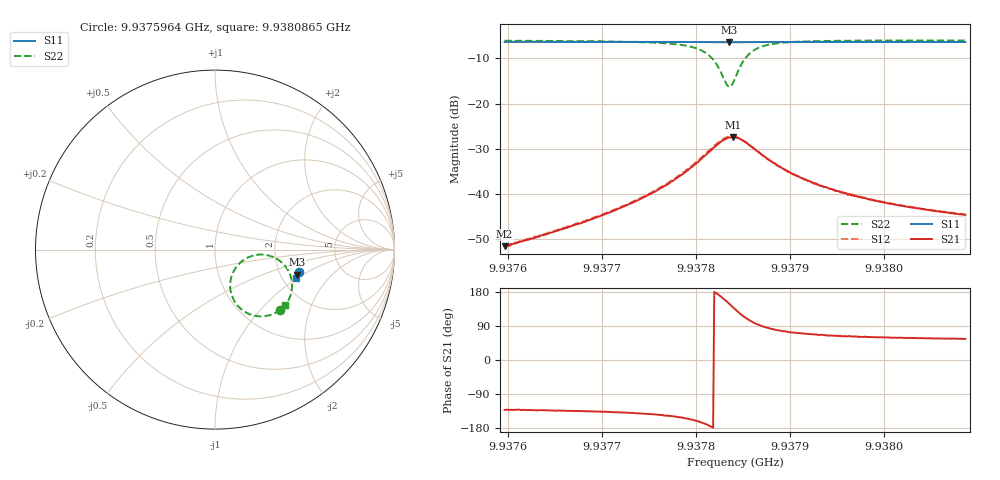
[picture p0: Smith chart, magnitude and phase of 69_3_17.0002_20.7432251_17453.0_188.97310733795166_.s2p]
#  HZ  S  RI  R  50.00
! Rohde & Schwarz Vector Network Analyzer
! Rohde-Schwarz,ZNB20-2Port,1311601062101988,3.16
! Created: UTC 3/20/2024, 10:55:09 PM
! freq[Hz]  re:S11  im:S11  re:S21  im:S21  re:S12  im:S12  re:S22  im:S22
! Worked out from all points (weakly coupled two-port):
!   401 points, 9.9375964 GHz to 9.9380865 GHz, reference 50 ohm
!   highest |S21| = -27.40 dB at 9.937839 GHz (marker M1); lowest = -51.5 dB at 9.9375964 GHz (marker M2)
!   lowest |S11| = -6.4 dB at 9.9378353 GHz (marker M3), VSWR 2.82, Z = 122 - j44 ohm
!   |S11| at or under -10 dB: nowhere
!   |S22| runs from -16.3 to -6.0 dB; largest |S21 - S12| = 0.0025
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9.93759641e9  0.4654 -0.1255  -0.00176 -0.00198  -0.0018 -0.00201  0.3647 -0.3347
9.9376785e9  0.4635 -0.1313  -0.00337 -0.00339  -0.0035 -0.00342  0.3453 -0.3477
9.93772505e9  0.462 -0.1344  -0.00558 -0.00488  -0.0058 -0.00486  0.3233 -0.3588
9.93776058e9  0.4608 -0.137  -0.00923 -0.00653  -0.00952 -0.00653  0.2901 -0.369
9.93779121e9  0.4593 -0.1394  -0.0166 -0.00779  -0.0174 -0.00756  0.2259 -0.3694
9.93780959e9  0.4577 -0.1405  -0.0261 -0.00539  -0.0272 -0.00482  0.1509 -0.3357
9.93782061e9  0.4563 -0.1405  -0.0337 0.00144  -0.0349 0.00284  0.0983 -0.267
9.93782674e9  0.4558 -0.1402  -0.0371 0.0086  -0.0379 0.0106  0.0846 -0.2021
9.93783164e9  0.4554 -0.1395  -0.0374 0.0161  -0.0377 0.0184  0.0952 -0.1407
9.93783532e9  0.4552 -0.1392  -0.0358 0.0222  -0.0356 0.0244  0.1191 -0.0962
9.93783899e9  0.4555 -0.1386  -0.0325 0.0276  -0.0316 0.0297  0.1561 -0.0601
9.93784144e9  0.4556 -0.1384  -0.0296 0.0304  -0.0283 0.0323  0.1856 -0.0429
9.93784757e9  0.4564 -0.1381  -0.0207 0.0345  -0.0191 0.0357  0.2626 -0.0278
9.93785247e9  0.4571 -0.1383  -0.0138 0.0349  -0.0123 0.0356  0.3155 -0.0379
9.93785859e9  0.4578 -0.1387  -0.00725 0.0328  -0.00578 0.0331  0.3636 -0.0648
9.93786472e9  0.4584 -0.1392  -0.00256 0.0297  -0.00133 0.0299  0.3941 -0.0957
9.93787697e9  0.4588 -0.1408  0.00227 0.024  0.003 0.0239  0.4217 -0.1494
9.9378929e9  0.4589 -0.1422  0.00462 0.0184  0.00502 0.0183  0.4292 -0.1971
9.93792353e9  0.4582 -0.1452  0.00507 0.0123  0.0054 0.0124  0.4233 -0.246
9.93796273e9  0.4574 -0.1481  0.00445 0.00897  0.00481 0.0087  0.4123 -0.2752
9.93800561e9  0.4561 -0.151  0.00401 0.00676  0.00418 0.00672  0.4029 -0.2925
9.93808647e9  0.454 -0.1564  0.0033 0.00485  0.00343 0.00484  0.3908 -0.3101
